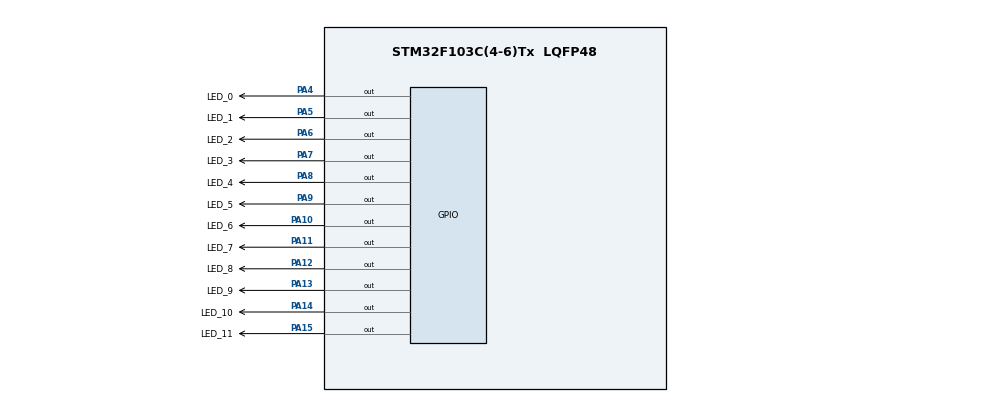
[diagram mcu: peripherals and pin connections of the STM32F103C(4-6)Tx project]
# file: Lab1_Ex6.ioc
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Mcu.Family=STM32F1
Mcu.Name=STM32F103C(4-6)Tx
Mcu.Package=LQFP48
NVIC.PriorityGroup=NVIC_PRIORITYGROUP_4
PA10.GPIO_Label=LED_6
PA10.Signal=GPIO_Output
PA11.GPIO_Label=LED_7
PA11.Signal=GPIO_Output
PA12.GPIO_Label=LED_8
PA12.Signal=GPIO_Output
PA13.GPIO_Label=LED_9
PA13.Signal=GPIO_Output
PA14.GPIO_Label=LED_10
PA14.Signal=GPIO_Output
PA15.GPIO_Label=LED_11
PA15.Signal=GPIO_Output
PA4.GPIO_Label=LED_0
PA4.Signal=GPIO_Output
PA5.GPIO_Label=LED_1
PA5.Signal=GPIO_Output
PA6.GPIO_Label=LED_2
PA6.Signal=GPIO_Output
PA7.GPIO_Label=LED_3
PA7.Signal=GPIO_Output
PA8.GPIO_Label=LED_4
PA8.Signal=GPIO_Output
PA9.GPIO_Label=LED_5
PA9.Signal=GPIO_Output
ProjectManager.HeapSize=0x200
ProjectManager.StackSize=0x400
ProjectManager.TargetToolchain=STM32CubeIDE
RCC.APB1Freq_Value=8000000
RCC.APB2Freq_Value=8000000
VP_SYS_VS_ND.Mode=No_Debug
board=custom

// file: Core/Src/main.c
/* USER CODE BEGIN Header */
/**
  ******************************************************************************
  * @file           : main.c
  * @brief          : Main program body
  ******************************************************************************
  * @attention
  *
  * <h2><center>&copy; Copyright (c) 2022 STMicroelectronics.
  * All rights reserved.</center></h2>
  *
  * This software component is licensed by ST under BSD 3-Clause license,
  * the "License"; You may not use this file except in compliance with the
  * License. You may obtain a copy of the License at:
  *                        opensource.org/licenses/BSD-3-Clause
  *
  ******************************************************************************
  */
/* USER CODE END Header */
#include "main.h"

void SystemClock_Config(void);
static void MX_GPIO_Init(void);

int main(void)
{

  /* MCU Configuration--------------------------------------------------------*/

  /* Reset of all peripherals, Initializes the Flash interface and the Systick. */
  HAL_Init();

  /* Configure the system clock */
  SystemClock_Config();

  /* Initialize all configured peripherals */
  MX_GPIO_Init();
  /* USER CODE BEGIN 2 */
  void clearAllClock() { /* Tat tat ca 12 bong den */
  	HAL_GPIO_WritePin(LED_0_GPIO_Port , LED_0_Pin , GPIO_PIN_SET);
  	HAL_GPIO_WritePin(LED_1_GPIO_Port , LED_1_Pin , GPIO_PIN_SET);
  	HAL_GPIO_WritePin(LED_2_GPIO_Port , LED_2_Pin , GPIO_PIN_SET);
  	HAL_GPIO_WritePin(LED_3_GPIO_Port , LED_3_Pin , GPIO_PIN_SET);
  	HAL_GPIO_WritePin(LED_4_GPIO_Port , LED_4_Pin , GPIO_PIN_SET);
  	HAL_GPIO_WritePin(LED_5_GPIO_Port , LED_5_Pin , GPIO_PIN_SET);
  	HAL_GPIO_WritePin(LED_6_GPIO_Port , LED_6_Pin , GPIO_PIN_SET);
  	HAL_GPIO_WritePin(LED_7_GPIO_Port , LED_7_Pin , GPIO_PIN_SET);
  	HAL_GPIO_WritePin(LED_8_GPIO_Port , LED_8_Pin , GPIO_PIN_SET);
  	HAL_GPIO_WritePin(LED_9_GPIO_Port , LED_9_Pin , GPIO_PIN_SET);
  	HAL_GPIO_WritePin(LED_10_GPIO_Port , LED_10_Pin , GPIO_PIN_SET);
  	HAL_GPIO_WritePin(LED_11_GPIO_Port , LED_11_Pin , GPIO_PIN_SET);
  }
  /* USER CODE END 2 */

  /* Infinite loop */
  /* USER CODE BEGIN WHILE */
  /* Chuong trinh sang lan luot cac den nguoc chieu kim dong ho */
  int count = 0;  /* Khoi tao bien "count" co gia tri ban dau bang 0 */
  clearAllClock(); /* Ban dau tat tat ca cac den */
  while (1)
  {
    /* USER CODE END WHILE */

    /* USER CODE BEGIN 3 */
	  /* Thiet lap de den thu "count" se duoc sang */
	  switch (count--) {
	  case 0: /* LED_0 sang */
		  HAL_GPIO_WritePin(LED_1_GPIO_Port , LED_1_Pin , GPIO_PIN_SET);
		  HAL_GPIO_WritePin(LED_0_GPIO_Port , LED_0_Pin , GPIO_PIN_RESET);
		  break;
	  case 1: /* LED_1 sang */
		  HAL_GPIO_WritePin(LED_2_GPIO_Port , LED_2_Pin , GPIO_PIN_SET);
		  HAL_GPIO_WritePin(LED_1_GPIO_Port , LED_1_Pin , GPIO_PIN_RESET);
		  break;
	  case 2: /* LED_2 sang */
		  HAL_GPIO_WritePin(LED_3_GPIO_Port , LED_3_Pin , GPIO_PIN_SET);
		  HAL_GPIO_WritePin(LED_2_GPIO_Port , LED_2_Pin , GPIO_PIN_RESET);
		  break;
	  case 3: /* LED_3 sang */
		  HAL_GPIO_WritePin(LED_4_GPIO_Port , LED_4_Pin , GPIO_PIN_SET);
		  HAL_GPIO_WritePin(LED_3_GPIO_Port , LED_3_Pin , GPIO_PIN_RESET);
		  break;
	  case 4: /* LED_4 sang */
		  HAL_GPIO_WritePin(LED_5_GPIO_Port , LED_5_Pin , GPIO_PIN_SET);
		  HAL_GPIO_WritePin(LED_4_GPIO_Port , LED_4_Pin , GPIO_PIN_RESET);
		  break;
	  case 5: /* LED_5 sang */
		  HAL_GPIO_WritePin(LED_6_GPIO_Port , LED_6_Pin , GPIO_PIN_SET);
		  HAL_GPIO_WritePin(LED_5_GPIO_Port , LED_5_Pin , GPIO_PIN_RESET);
		  break;
	  case 6: /* LED_6 sang */
		  HAL_GPIO_WritePin(LED_7_GPIO_Port , LED_7_Pin , GPIO_PIN_SET);
		  HAL_GPIO_WritePin(LED_6_GPIO_Port , LED_6_Pin , GPIO_PIN_RESET);
		  break;
	  case 7: /* LED_7 sang */
		  HAL_GPIO_WritePin(LED_8_GPIO_Port , LED_8_Pin , GPIO_PIN_SET);
		  HAL_GPIO_WritePin(LED_7_GPIO_Port , LED_7_Pin , GPIO_PIN_RESET);
		  break;
	  case 8: /* LED_8 sang */
		  HAL_GPIO_WritePin(LED_9_GPIO_Port , LED_9_Pin , GPIO_PIN_SET);
		  HAL_GPIO_WritePin(LED_8_GPIO_Port , LED_8_Pin , GPIO_PIN_RESET);
		  break;
	  case 9: /* LED_9 sang */
		  HAL_GPIO_WritePin(LED_10_GPIO_Port , LED_10_Pin , GPIO_PIN_SET);
		  HAL_GPIO_WritePin(LED_9_GPIO_Port , LED_9_Pin , GPIO_PIN_RESET);
		  break;
	  case 10: /* LED_10 sang */
		  HAL_GPIO_WritePin(LED_11_GPIO_Port , LED_11_Pin , GPIO_PIN_SET);
		  HAL_GPIO_WritePin(LED_10_GPIO_Port , LED_10_Pin , GPIO_PIN_RESET);
		  break;
	  case 11: /* LED_11 sang */
		  HAL_GPIO_WritePin(LED_0_GPIO_Port , LED_0_Pin , GPIO_PIN_SET);
		  HAL_GPIO_WritePin(LED_11_GPIO_Port , LED_11_Pin , GPIO_PIN_RESET);
		  break;
	  default:
		  break;
	  }
	  /* Neu sau khi den 0 sang, thi giay tiep theo ta se thiet lap cho den 11 sang tro lai */
	  	  if (count < 0) {
	  		  count = 11;
	  	  }
	  HAL_Delay(1000);
  }
  /* USER CODE END 3 */
}

void SystemClock_Config(void)
{
  RCC_OscInitTypeDef RCC_OscInitStruct = {0};
  RCC_ClkInitTypeDef RCC_ClkInitStruct = {0};

  /** Initializes the RCC Oscillators according to the specified parameters
  * in the RCC_OscInitTypeDef structure.
  */
  RCC_OscInitStruct.OscillatorType = RCC_OSCILLATORTYPE_HSI;
  RCC_OscInitStruct.HSIState = RCC_HSI_ON;
  RCC_OscInitStruct.HSICalibrationValue = RCC_HSICALIBRATION_DEFAULT;
  RCC_OscInitStruct.PLL.PLLState = RCC_PLL_NONE;
  if (HAL_RCC_OscConfig(&RCC_OscInitStruct) != HAL_OK)
  {
    Error_Handler();
  }
  /** Initializes the CPU, AHB and APB buses clocks
  */
  RCC_ClkInitStruct.ClockType = RCC_CLOCKTYPE_HCLK|RCC_CLOCKTYPE_SYSCLK
                              |RCC_CLOCKTYPE_PCLK1|RCC_CLOCKTYPE_PCLK2;
  RCC_ClkInitStruct.SYSCLKSource = RCC_SYSCLKSOURCE_HSI;
  RCC_ClkInitStruct.AHBCLKDivider = RCC_SYSCLK_DIV1;
  RCC_ClkInitStruct.APB1CLKDivider = RCC_HCLK_DIV1;
  RCC_ClkInitStruct.APB2CLKDivider = RCC_HCLK_DIV1;

  if (HAL_RCC_ClockConfig(&RCC_ClkInitStruct, FLASH_LATENCY_0) != HAL_OK)
  {
    Error_Handler();
  }
}

static void MX_GPIO_Init(void)
{
  GPIO_InitTypeDef GPIO_InitStruct = {0};

  /* GPIO Ports Clock Enable */
  __HAL_RCC_GPIOA_CLK_ENABLE();

  /*Configure GPIO pin Output Level */
  HAL_GPIO_WritePin(GPIOA, LED_0_Pin|LED_1_Pin|LED_2_Pin|LED_3_Pin
                          |LED_4_Pin|LED_5_Pin|LED_6_Pin|LED_7_Pin
                          |LED_8_Pin|LED_9_Pin|LED_10_Pin|LED_11_Pin, GPIO_PIN_RESET);

  /*Configure GPIO pins : LED_0_Pin LED_1_Pin LED_2_Pin LED_3_Pin
                           LED_4_Pin LED_5_Pin LED_6_Pin LED_7_Pin
                           LED_8_Pin LED_9_Pin LED_10_Pin LED_11_Pin */
  GPIO_InitStruct.Pin = LED_0_Pin|LED_1_Pin|LED_2_Pin|LED_3_Pin
                          |LED_4_Pin|LED_5_Pin|LED_6_Pin|LED_7_Pin
                          |LED_8_Pin|LED_9_Pin|LED_10_Pin|LED_11_Pin;
  GPIO_InitStruct.Mode = GPIO_MODE_OUTPUT_PP;
  GPIO_InitStruct.Pull = GPIO_NOPULL;
  GPIO_InitStruct.Speed = GPIO_SPEED_FREQ_LOW;
  HAL_GPIO_Init(GPIOA, &GPIO_InitStruct);

}

void Error_Handler(void)
{
  __disable_irq();
  while (1)
  {
  }
}

/************************ (C) COPYRIGHT STMicroelectronics *****END OF FILE****/
